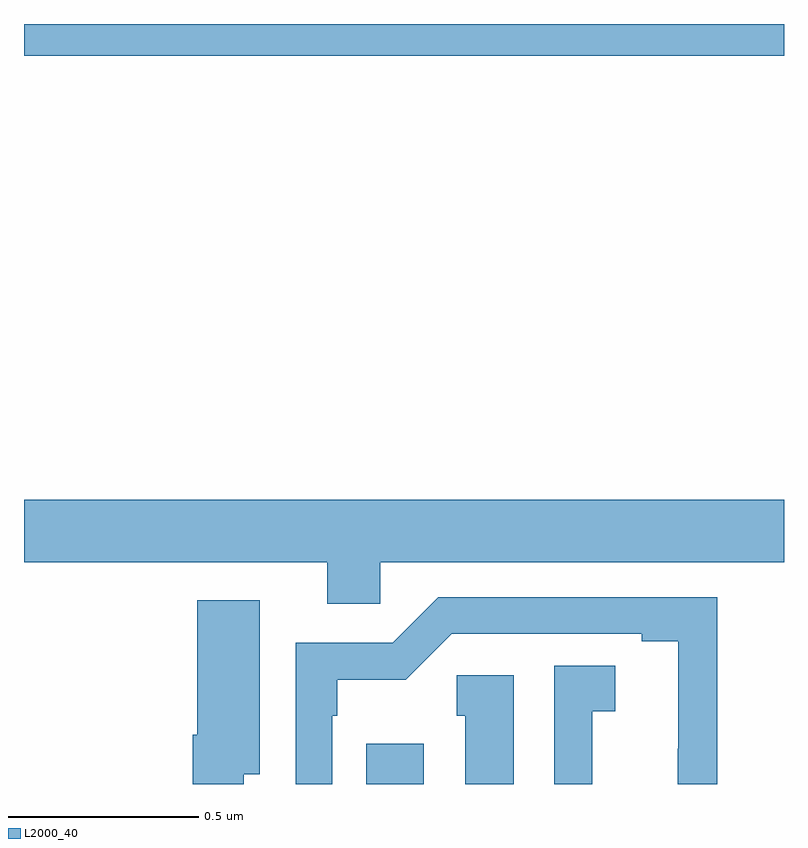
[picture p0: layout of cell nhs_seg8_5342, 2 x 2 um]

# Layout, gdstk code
import gdstk
lib = gdstk.Library(unit=1e-6, precision=1e-09)
def R(c, l, rs):  # rectangles x0, y0, x1, y1
    for r in rs: c.add(gdstk.rectangle(r[:2], r[2:], *l))
def P(c, l, *ps):  # polygons
    for p in ps: c.add(gdstk.Polygon(p, *l))
L2000_40 = (2000, 40)

nhs_seg8_5342 = lib.new_cell('nhs_seg8_5342')
R(nhs_seg8_5342, L2000_40, [(182.9,1131.9,183.052,1132.006), (182,1133.816,184,1133.9)])
P(nhs_seg8_5342, L2000_40, [(182.937,1132.484),(184,1132.484),(184,1132.648),(182,1132.648),(182,1132.484),(182.798,1132.484),(182.798,1132.374),(182.937,1132.374)],
  [(182.811,1132.079),(182.824,1132.079),(182.824,1132.175),(183.005,1132.175),(183.126,1132.296),(183.626,1132.296),(183.626,1132.276),(183.722,1132.276),(183.722,1131.993),(183.721,1131.993),(183.721,1131.9),(183.824,1131.9),(183.824,1132.392),(183.09,1132.392),(182.97,1132.272),(182.715,1132.272),(182.715,1131.9),(182.811,1131.9)],
  [(182.578,1131.926),(182.62,1131.926),(182.62,1132.384),(182.456,1132.384),(182.456,1132.03),(182.444,1132.03),(182.444,1131.9),(182.578,1131.9)],
  [(183.495,1132.091),(183.556,1132.091),(183.556,1132.211),(183.396,1132.211),(183.396,1131.9),(183.495,1131.9)],
  [(183.289,1132.186),(183.139,1132.186),(183.139,1132.08),(183.161,1132.08),(183.161,1131.9),(183.289,1131.9)])

lib.write_gds('nhs_seg8_5342.gds')
